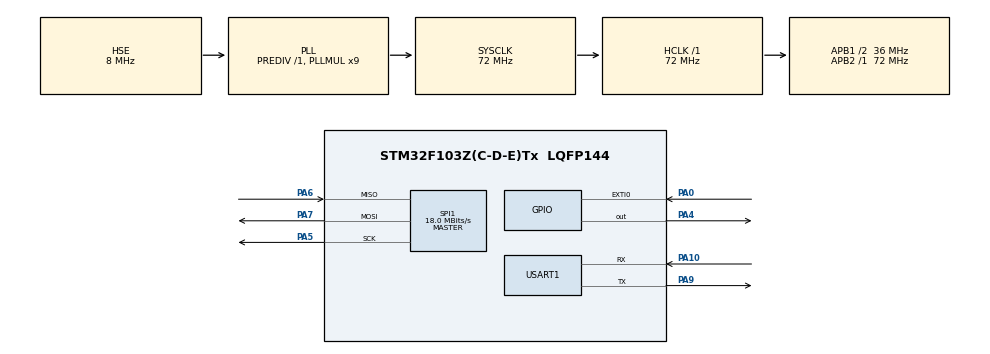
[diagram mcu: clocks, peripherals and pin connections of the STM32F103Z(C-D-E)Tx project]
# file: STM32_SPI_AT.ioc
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Dma.Request0=SPI1_RX
Dma.Request1=SPI1_TX
Dma.SPI1_RX.0.Direction=DMA_PERIPH_TO_MEMORY
Dma.SPI1_RX.0.Instance=DMA1_Channel2
Dma.SPI1_RX.0.MemDataAlignment=DMA_MDATAALIGN_BYTE
Dma.SPI1_RX.0.MemInc=DMA_MINC_ENABLE
Dma.SPI1_RX.0.Mode=DMA_NORMAL
Dma.SPI1_RX.0.PeriphDataAlignment=DMA_PDATAALIGN_BYTE
Dma.SPI1_RX.0.PeriphInc=DMA_PINC_DISABLE
Dma.SPI1_RX.0.Priority=DMA_PRIORITY_MEDIUM
Dma.SPI1_TX.1.Direction=DMA_MEMORY_TO_PERIPH
Dma.SPI1_TX.1.Instance=DMA1_Channel3
Dma.SPI1_TX.1.MemDataAlignment=DMA_MDATAALIGN_BYTE
Dma.SPI1_TX.1.MemInc=DMA_MINC_ENABLE
Dma.SPI1_TX.1.Mode=DMA_NORMAL
Dma.SPI1_TX.1.PeriphDataAlignment=DMA_PDATAALIGN_BYTE
Dma.SPI1_TX.1.PeriphInc=DMA_PINC_DISABLE
Dma.SPI1_TX.1.Priority=DMA_PRIORITY_MEDIUM
FREERTOS.Tasks01=defaultTask,0,128,StartDefaultTask,Default,NULL,Dynamic,NULL,NULL
Mcu.Family=STM32F1
Mcu.Name=STM32F103Z(C-D-E)Tx
Mcu.Package=LQFP144
NVIC.DMA1_Channel2_IRQn=true\:5\:0\:false\:false\:true\:true\:false\:true
NVIC.DMA1_Channel3_IRQn=true\:5\:0\:false\:false\:true\:true\:false\:true
NVIC.EXTI0_IRQn=true\:5\:0\:false\:false\:true\:true\:true\:true
NVIC.PriorityGroup=NVIC_PRIORITYGROUP_4
NVIC.SPI1_IRQn=true\:5\:0\:false\:false\:true\:true\:true\:true
NVIC.TIM2_IRQn=true\:0\:0\:false\:false\:true\:false\:false\:true
NVIC.TimeBase=TIM2_IRQn
NVIC.TimeBaseIP=TIM2
NVIC.USART1_IRQn=true\:5\:0\:false\:false\:true\:true\:true\:true
OSC_IN.Mode=HSE-External-Oscillator
OSC_IN.Signal=RCC_OSC_IN
OSC_OUT.Mode=HSE-External-Oscillator
OSC_OUT.Signal=RCC_OSC_OUT
PA0-WKUP.GPIO_ModeDefaultEXTI=GPIO_MODE_IT_FALLING
PA0-WKUP.GPIO_PuPd=GPIO_NOPULL
PA0-WKUP.Signal=GPXTI0
PA10.Mode=Asynchronous
PA10.Signal=USART1_RX
PA13.Mode=Serial_Wire
PA13.Signal=SYS_JTMS-SWDIO
PA14.Mode=Serial_Wire
PA14.Signal=SYS_JTCK-SWCLK
PA4.GPIO_ModeDefaultOutputPP=GPIO_MODE_OUTPUT_PP
PA4.GPIO_PuPd=GPIO_PULLUP
PA4.PinState=GPIO_PIN_RESET
PA4.Signal=GPIO_Output
PA5.Mode=Full_Duplex_Master
PA5.Signal=SPI1_SCK
PA6.Mode=Full_Duplex_Master
PA6.Signal=SPI1_MISO
PA7.Mode=Full_Duplex_Master
PA7.Signal=SPI1_MOSI
PA9.Mode=Asynchronous
PA9.Signal=USART1_TX
ProjectManager.HeapSize=0x400
ProjectManager.StackSize=0x400
ProjectManager.TargetToolchain=MDK-ARM V5
RCC.AHBFreq_Value=72000000
RCC.APB1CLKDivider=RCC_HCLK_DIV2
RCC.APB1Freq_Value=36000000
RCC.APB1TimFreq_Value=72000000
RCC.APB2Freq_Value=72000000
RCC.APB2TimFreq_Value=72000000
RCC.HCLKFreq_Value=72000000
RCC.PLLMUL=RCC_PLL_MUL9
RCC.PLLSourceVirtual=RCC_PLLSOURCE_HSE
RCC.SYSCLKFreq_VALUE=72000000
RCC.SYSCLKSource=RCC_SYSCLKSOURCE_PLLCLK
RCC.USBFreq_Value=72000000
SPI1.BaudRatePrescaler=SPI_BAUDRATEPRESCALER_4
SPI1.CalculateBaudRate=18.0 MBits/s
SPI1.Direction=SPI_DIRECTION_2LINES
SPI1.Mode=SPI_MODE_MASTER
SPI1.VirtualType=VM_MASTER
USART1.VirtualMode=VM_ASYNC
VP_FREERTOS_VS_CMSIS_V1.Mode=CMSIS_V1
VP_SYS_VS_tim2.Mode=TIM2
board=custom

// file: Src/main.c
/* USER CODE BEGIN Header */
/**
  ******************************************************************************
  * @file           : main.c
  * @brief          : Main program body
  ******************************************************************************
  * @attention
  *
  * <h2><center>&copy; Copyright (c) 2020 STMicroelectronics.
  * All rights reserved.</center></h2>
  *
  * This software component is licensed by ST under Ultimate Liberty license
  * SLA0044, the "License"; You may not use this file except in compliance with
  * the License. You may obtain a copy of the License at:
  *                             www.st.com/SLA0044
  *
  ******************************************************************************
  */
/* USER CODE END Header */

#include "main.h"
#include "cmsis_os.h"
#include "dma.h"
#include "spi.h"
#include "usart.h"
#include "gpio.h"

/* USER CODE BEGIN Includes */
#include <stdio.h>
/* USER CODE END Includes */

void SystemClock_Config(void);
void MX_FREERTOS_Init(void);

int main(void)
{

  /* MCU Configuration--------------------------------------------------------*/

  /* Reset of all peripherals, Initializes the Flash interface and the Systick. */
  HAL_Init();

  /* Configure the system clock */
  SystemClock_Config();

  /* Initialize all configured peripherals */
  MX_GPIO_Init();
  MX_DMA_Init();
  MX_SPI1_Init();
  MX_USART1_UART_Init();

  /* Call init function for freertos objects (in freertos.c) */
  MX_FREERTOS_Init();

  /* Start scheduler */
  osKernelStart();

  /* We should never get here as control is now taken by the scheduler */

  /* Infinite loop */
  while (1)
  {

  }
}

void SystemClock_Config(void)
{
  RCC_OscInitTypeDef RCC_OscInitStruct = {0};
  RCC_ClkInitTypeDef RCC_ClkInitStruct = {0};

  /** Initializes the CPU, AHB and APB busses clocks
  */
  RCC_OscInitStruct.OscillatorType = RCC_OSCILLATORTYPE_HSE;
  RCC_OscInitStruct.HSEState = RCC_HSE_ON;
  RCC_OscInitStruct.HSEPredivValue = RCC_HSE_PREDIV_DIV1;
  RCC_OscInitStruct.HSIState = RCC_HSI_ON;
  RCC_OscInitStruct.PLL.PLLState = RCC_PLL_ON;
  RCC_OscInitStruct.PLL.PLLSource = RCC_PLLSOURCE_HSE;
  RCC_OscInitStruct.PLL.PLLMUL = RCC_PLL_MUL9;
  if (HAL_RCC_OscConfig(&RCC_OscInitStruct) != HAL_OK)
  {
    Error_Handler();
  }
  /** Initializes the CPU, AHB and APB busses clocks
  */
  RCC_ClkInitStruct.ClockType = RCC_CLOCKTYPE_HCLK|RCC_CLOCKTYPE_SYSCLK
                              |RCC_CLOCKTYPE_PCLK1|RCC_CLOCKTYPE_PCLK2;
  RCC_ClkInitStruct.SYSCLKSource = RCC_SYSCLKSOURCE_PLLCLK;
  RCC_ClkInitStruct.AHBCLKDivider = RCC_SYSCLK_DIV1;
  RCC_ClkInitStruct.APB1CLKDivider = RCC_HCLK_DIV2;
  RCC_ClkInitStruct.APB2CLKDivider = RCC_HCLK_DIV1;

  if (HAL_RCC_ClockConfig(&RCC_ClkInitStruct, FLASH_LATENCY_2) != HAL_OK)
  {
    Error_Handler();
  }
}

void HAL_TIM_PeriodElapsedCallback(TIM_HandleTypeDef *htim)
{
  if (htim->Instance == TIM2) {
    HAL_IncTick();
  }
}

void Error_Handler(void)
{
  /* USER CODE BEGIN Error_Handler_Debug */
  /* User can add his own implementation to report the HAL error return state */
  printf("Find error\r\n");
  /* USER CODE END Error_Handler_Debug */
}

/************************ (C) COPYRIGHT STMicroelectronics *****END OF FILE****/

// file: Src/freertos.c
/* USER CODE BEGIN Header */
/**
  ******************************************************************************
  * File Name          : freertos.c
  * Description        : Code for freertos applications
  ******************************************************************************
  * @attention
  *
  * <h2><center>&copy; Copyright (c) 2020 STMicroelectronics.
  * All rights reserved.</center></h2>
  *
  * This software component is licensed by ST under Ultimate Liberty license
  * SLA0044, the "License"; You may not use this file except in compliance with
  * the License. You may obtain a copy of the License at:
  *                             www.st.com/SLA0044
  *
  ******************************************************************************
  */
/* USER CODE END Header */

#include "FreeRTOS.h"
#include "task.h"
#include "main.h"
#include "cmsis_os.h"

/* USER CODE BEGIN Includes */
#include <string.h>
#include <stdio.h>
#include "task.h"
#include "stream_buffer.h"
#include "semphr.h"
#include "usart.h"
#include "gpio.h"
#include "port.h"
#include "sdspi_host.h"
/* USER CODE END Includes */

/* USER CODE BEGIN PTD */
 #define RXBUFFERSIZE 256
char RxBuffer[RXBUFFERSIZE];
char RxBufferBackup[RXBUFFERSIZE];
uint8_t aRxBuffer;
uint32_t Uart1_Rx_Cnt = 0;
uint32_t Uart1_Rx_Cnt_Backup = 0;
static const char* TAG = "sdspi";
/* USER CODE END PTD */

/* USER CODE BEGIN PD */
/* List of commands */

/* USER CODE END PFP */

/* Private user code ---------------------------------------------------------*/
/* USER CODE BEGIN 0 */
#define READ_BUFFER_LEN     4096
static uint8_t esp_at_recvbuf[READ_BUFFER_LEN + 1] = "";
/* USER CODE END PD */

/* USER CODE BEGIN Variables */
spi_context_t context;
static SemaphoreHandle_t UartBinarySemHandle;
/* USER CODE END Variables */
osThreadId defaultTaskHandle;

/* USER CODE BEGIN FunctionPrototypes */
void sdspi_recv_task(void * argument);
void spi_transmit_data(uint32_t len);
/* USER CODE END FunctionPrototypes */

void StartDefaultTask(void const * argument);

void MX_FREERTOS_Init(void); /* (MISRA C 2004 rule 8.1) */

/* GetIdleTaskMemory prototype (linked to static allocation support) */
void vApplicationGetIdleTaskMemory( StaticTask_t **ppxIdleTaskTCBBuffer, StackType_t **ppxIdleTaskStackBuffer, uint32_t *pulIdleTaskStackSize );

/* USER CODE BEGIN GET_IDLE_TASK_MEMORY */
static StaticTask_t xIdleTaskTCBBuffer;
static StackType_t xIdleStack[configMINIMAL_STACK_SIZE];

void vApplicationGetIdleTaskMemory( StaticTask_t **ppxIdleTaskTCBBuffer, StackType_t **ppxIdleTaskStackBuffer, uint32_t *pulIdleTaskStackSize )
{
  *ppxIdleTaskTCBBuffer = &xIdleTaskTCBBuffer;
  *ppxIdleTaskStackBuffer = &xIdleStack[0];
  *pulIdleTaskStackSize = configMINIMAL_STACK_SIZE;
  /* place for user code */
}
/* USER CODE END GET_IDLE_TASK_MEMORY */

void MX_FREERTOS_Init(void) {

  /* Create the thread(s) */
  /* definition and creation of defaultTask */
  osThreadDef(defaultTask, StartDefaultTask, osPriorityNormal, 0, 128);
  defaultTaskHandle = osThreadCreate(osThread(defaultTask), NULL);

}

void StartDefaultTask(void const * argument)
{
  /* USER CODE BEGIN StartDefaultTask */
	UartBinarySemHandle = xSemaphoreCreateBinary();
	esp_err_t err = at_sdspi_init();
  assert(err == ESP_OK);
  memset(&context, 0x0, sizeof(spi_context_t));
  xTaskCreate(sdspi_recv_task, "sdspi_recv_task", 128, NULL, 5, NULL);
	xSemaphoreTake(UartBinarySemHandle,0);
	CS_high();
	// wakeup uart receive intr
	HAL_UART_Receive_IT(&huart1, (uint8_t *)&aRxBuffer, 1);

	ESP_AT_LOGI(TAG, "Init SDIO done, now start send AT command\r\n");
  /* Infinite loop */
  for(;;)
  {
		xSemaphoreTake(UartBinarySemHandle,portMAX_DELAY);
/*
		ESP_AT_LOGD(TAG, "UART len: %d\r\n", Uart1_Rx_Cnt_Backup);
		RxBufferBackup[Uart1_Rx_Cnt_Backup] = '\0';
		ESP_AT_LOGD(TAG, "UART DATA: %s", RxBufferBackup);
*/
		err = at_sdspi_send_packet(&context, RxBufferBackup, Uart1_Rx_Cnt_Backup, UINT32_MAX);
		if (err != ESP_OK) {
			ESP_AT_LOGE(TAG, "Send SDIO data error\r\n");
			while(1){};
		}
		ESP_AT_LOGD(TAG, "\r\nSend done\r\n");
  }
  /* USER CODE END StartDefaultTask */
}

/* USER CODE BEGIN Application */

void sdspi_recv_task(void * argument)
{
    esp_err_t ret;
    uint32_t intr_raw;

    while (1) {

        ret = at_spi_wait_int(2000);

        if (ret == ESP_ERR_TIMEOUT) {
            continue;
        }

        assert(ret == ESP_OK);

        ret = at_sdspi_get_intr(&intr_raw);
        assert(ret == ESP_OK);

        ret = at_sdspi_clear_intr(intr_raw);
        assert(ret == ESP_OK);

        if (intr_raw & HOST_SLC0_RX_NEW_PACKET_INT_ST) {
            size_t size_read = READ_BUFFER_LEN;
            esp_err_t err = at_sdspi_get_packet(&context, esp_at_recvbuf, READ_BUFFER_LEN, &size_read);

            if (err == ESP_ERR_NOT_FOUND) {
                ESP_AT_LOGE(TAG, "interrupt but no data can be read\r\n");
                break;
            } else if (err != ESP_OK && err != ESP_ERR_NOT_FINISHED) {
                ESP_AT_LOGE(TAG, "rx packet error: %08X\r\n", err);
            }

            {
                printf("%s", esp_at_recvbuf);
                fflush(stdout);
            }

            memset(esp_at_recvbuf, '\0', sizeof(esp_at_recvbuf));
        }
    }
}

void HAL_UART_RxCpltCallback(UART_HandleTypeDef *huart)
{
  /* NOTE: This function Should not be modified, when the callback is needed,
           the HAL_UART_TxCpltCallback could be implemented in the user file
   */
	BaseType_t xHigherPriorityTaskWoken;

	if(Uart1_Rx_Cnt >= 254)  // copy before over flow
	{
		Uart1_Rx_Cnt_Backup = Uart1_Rx_Cnt;
		memcpy(RxBufferBackup, RxBuffer, Uart1_Rx_Cnt);
		xSemaphoreGiveFromISR(UartBinarySemHandle,&xHigherPriorityTaskWoken);
		Uart1_Rx_Cnt = 0;
		memset(RxBuffer,0x00,sizeof(RxBuffer));

	} else {
		RxBuffer[Uart1_Rx_Cnt++] = aRxBuffer;   //

		if((RxBuffer[Uart1_Rx_Cnt-1] == 0x0A)&&(RxBuffer[Uart1_Rx_Cnt-2] == 0x0D))
		{
      Uart1_Rx_Cnt_Backup = Uart1_Rx_Cnt;
		  memcpy(RxBufferBackup, RxBuffer, Uart1_Rx_Cnt);
			xSemaphoreGiveFromISR(UartBinarySemHandle,&xHigherPriorityTaskWoken);
			Uart1_Rx_Cnt = 0;
			memset(RxBuffer,0x00,sizeof(RxBuffer));
		}
	}

	HAL_UART_Receive_IT(&huart1, (uint8_t *)&aRxBuffer, 1);

	if(xHigherPriorityTaskWoken) {
	  portYIELD_FROM_ISR(xHigherPriorityTaskWoken);
	}

}

/* USER CODE END Application */

/************************ (C) COPYRIGHT STMicroelectronics *****END OF FILE****/
